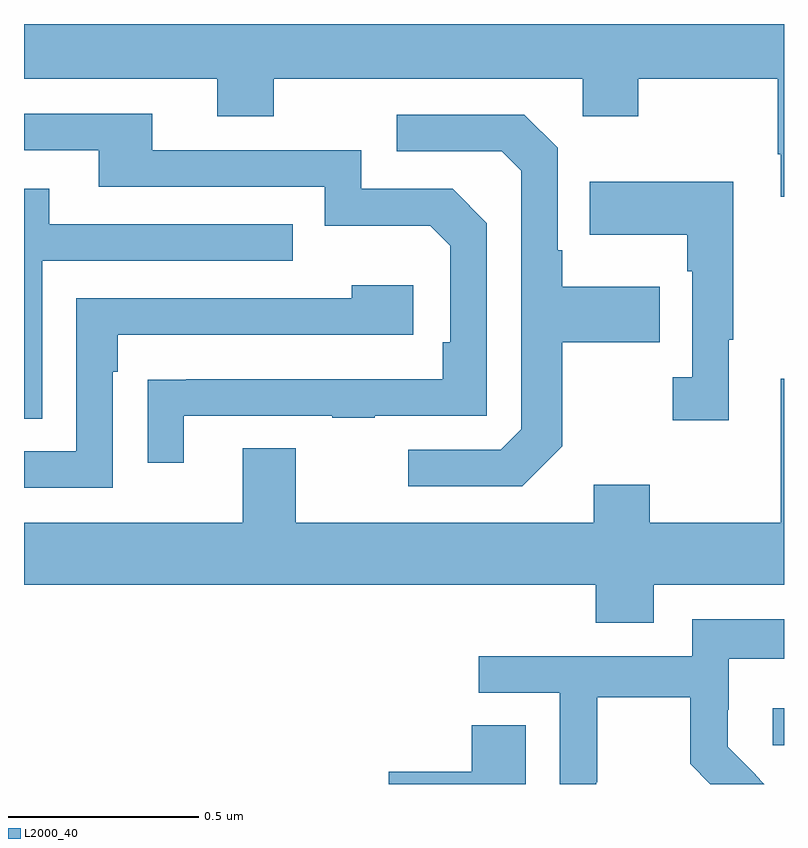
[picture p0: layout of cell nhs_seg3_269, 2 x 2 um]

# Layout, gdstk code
import gdstk
lib = gdstk.Library(unit=1e-6, precision=1e-09)
def R(c, l, rs):  # rectangles x0, y0, x1, y1
    for r in rs: c.add(gdstk.rectangle(r[:2], r[2:], *l))
def P(c, l, *ps):  # polygons
    for p in ps: c.add(gdstk.Polygon(p, *l))
L2000_40 = (2000, 40)

nhs_seg3_269 = lib.new_cell('nhs_seg3_269')
R(nhs_seg3_269, L2000_40, [(115.971,692.502,116,692.599)])
P(nhs_seg3_269, L2000_40, [(116,694.4),(114,694.4),(114,694.256),(114.509,694.256),(114.509,694.157),(114.657,694.157),(114.657,694.256),(115.47,694.256),(115.47,694.157),(115.617,694.157),(115.617,694.256),(115.984,694.256),(115.984,694.057),(115.991,694.057),(115.991,693.945),(116,693.945)],
  [(114.421,693.369),(114.811,693.369),(114.811,693.364),(114.923,693.364),(114.923,693.369),(115.218,693.369),(115.218,693.876),(115.128,693.966),(114.888,693.966),(114.888,694.068),(114.337,694.068),(114.337,694.164),(114,694.164),(114,694.068),(114.197,694.068),(114.197,693.972),(114.792,693.972),(114.792,693.869),(115.069,693.869),(115.122,693.816),(115.122,693.562),(115.102,693.562),(115.102,693.465),(114.427,693.465),(114.427,693.464),(114.325,693.464),(114.325,693.246),(114.421,693.246)],
  [(115.417,693.289),(115.417,693.562),(115.673,693.562),(115.673,693.709),(115.417,693.709),(115.417,693.805),(115.404,693.805),(115.404,694.074),(115.317,694.161),(114.981,694.161),(114.981,694.065),(115.257,694.065),(115.308,694.014),(115.308,693.333),(115.254,693.279),(115.011,693.279),(115.011,693.183),(115.311,693.183)],
  [(115.855,693.569),(115.867,693.569),(115.867,693.985),(115.489,693.985),(115.489,693.845),(115.746,693.845),(115.746,693.749),(115.758,693.749),(115.758,693.47),(115.707,693.47),(115.707,693.357),(115.855,693.357)],
  [(114.048,693.777),(114.707,693.777),(114.707,693.873),(114.067,693.873),(114.067,693.967),(114,693.967),(114,693.361),(114.048,693.361)],
  [(114.234,693.485),(114.247,693.485),(114.247,693.582),(115.024,693.582),(115.024,693.712),(114.863,693.712),(114.863,693.678),(114.138,693.678),(114.138,693.276),(114,693.276),(114,693.18),(114.234,693.18)],
  [(115.657,692.924),(116,692.924),(116,693.466),(115.991,693.466),(115.991,693.088),(115.647,693.088),(115.647,693.187),(115.499,693.187),(115.499,693.088),(114.715,693.088),(114.715,693.283),(114.575,693.283),(114.575,693.088),(114,693.088),(114,692.924),(115.505,692.924),(115.505,692.825),(115.657,692.825)],
  [(115.506,692.404),(115.509,692.404),(115.509,692.628),(115.753,692.628),(115.753,692.453),(115.806,692.4),(115.948,692.4),(115.925,692.423),(115.926,692.424),(115.852,692.498),(115.852,692.595),(115.854,692.595),(115.854,692.729),(116,692.729),(116,692.833),(115.758,692.833),(115.758,692.736),(115.197,692.736),(115.197,692.64),(115.41,692.64),(115.41,692.4),(115.506,692.4)],
  [(115.321,692.555),(115.178,692.555),(115.178,692.432),(114.96,692.432),(114.96,692.4),(115.321,692.4)])

lib.write_gds('nhs_seg3_269.gds')
